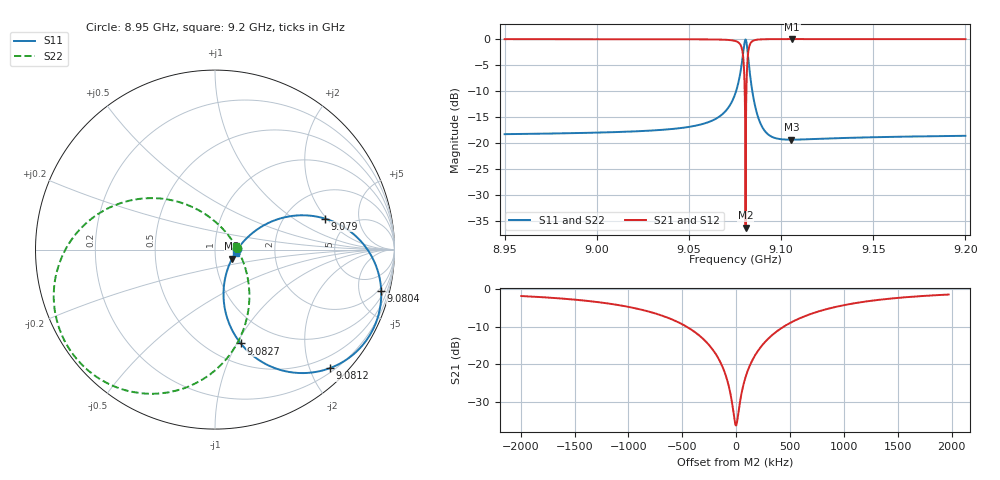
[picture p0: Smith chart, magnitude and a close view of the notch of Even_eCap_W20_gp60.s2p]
! Sonnet Data File
! From: emgraph Version : 16.52
! From Project: Resonator2_extremeCap
! Data is De-embedded
! Data File Written: 10/11/2017 17:55:29
!< HDATE 10/10/2017 20:37:37
!< MDATE 10/10/2017 20:37:37
!< PARAMS
!< Pwid1 = 2000.0
!< Pwid2 = 2000.0
!< Air_gap = 12.0
!< Width = 20.0
!< Gap = 60.0
!< END PARAMS
# GHZ S MA R 50.70000
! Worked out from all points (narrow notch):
!   1844 points, 8.95 GHz to 9.2 GHz, reference 50.7 ohm
!   highest |S21| = -0.05 dB at 9.106 GHz (marker M1); lowest = -36.2 dB at 9.0807 GHz (marker M2)
!   notch at M2: 36.2 dB deep, 336 kHz wide at half that depth
!   lowest |S11| = -19.4 dB at 9.1056 GHz (marker M3), VSWR 1.24, Z = 61.1 - j6.15 ohm
!   |S11| at or under -10 dB: start of sweep to 9.0756 GHz; 9.0844 GHz to end of sweep
!   |S22| runs from -19.4 to -0.2 dB; largest |S21 - S12| = 0
!   S11 on the Smith chart (normalised r, x): 8.95 GHz: 1.28, +0.01; 9.079 GHz: 3.31, +1.93; 9.0804 GHz: 1.52, -7.87; 9.0812 GHz: 0.27, -2.34; 9.0827 GHz: 0.70, -1.04; 9.2 GHz: 1.26, -0.05
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8.95  0.1216 1.2  0.9926 -87.8  0.9926 -87.8  0.1216 3.1
!< P1 F=8.95 Eeff=(6.44622481 -2.9718e-5) Z0=(50.9069921 1.17455e-4) R=0.0 C=0.0
!< P2 F=8.95 Eeff=(6.44622481 -2.9718e-5) Z0=(50.9069921 1.17455e-4) R=0.0 C=0.0
8.9918  0.1249 2.4  0.9922 -88.5  0.9922 -88.5  0.1249 0.6
9.0334  0.133 5.9  0.9911 -89.7  0.9911 -89.7  0.133 -5.3
9.063  0.1653 15.9  0.9862 -92.7  0.9862 -92.7  0.1652 -21.2
9.075  0.2928 26.3  0.9554 -101.4  0.9554 -101.4  0.2922 -49.4
9.079  0.6373 15.7  0.7642 -124.6  0.7642 -124.6  0.6355 -86.3
9.079797  0.823 2.5  0.5524 -140.6  0.5524 -140.6  0.8205 -106.1
9.080371  0.9544 -14.0  0.2538 -157.5  0.2538 -157.5  0.9513 -127.6
9.080599  0.9817 -22.1  0.09778 -161.0  0.09778 -161.0  0.9784 -137.8
9.080733  0.9862 -27.2  0.01541 -82.5  0.01541 -82.5  0.9829 -144.0
9.080817  0.9842 -30.3  0.06432 -13.0  0.06432 -13.0  0.9808 -148.0
9.0809  0.9785 -33.5  0.1244 -9.8  0.1244 -9.8  0.9751 -151.9
9.081244  0.92 -45.9  0.359 -19.1  0.359 -19.1  0.9168 -167.5
9.081808  0.7608 -61.7  0.6353 -36.4  0.6353 -36.4  0.758 171.1
9.082662  0.5425 -74.6  0.8344 -53.3  0.8344 -53.3  0.5404 149.4
9.085023  0.2699 -79.8  0.9616 -71.2  0.9616 -71.2  0.2688 118.0
9.0902  0.1382 -61.3  0.9901 -80.6  0.9901 -80.6  0.1377 80.2
9.1056  0.1077 -27.5  0.9941 -85.8  0.9941 -85.8  0.1076 36.0
9.106  0.1077 -27.1  0.9941 -85.8  0.9941 -85.8  0.1076 35.5
9.1168  0.109 -19.8  0.994 -86.8  0.994 -86.8  0.109 26.2
9.1584  0.1144 -11.4  0.9934 -88.4  0.9934 -88.4  0.1144 14.7
9.2  0.1173 -9.4  0.9931 -89.1  0.9931 -89.1  0.1173 11.1
